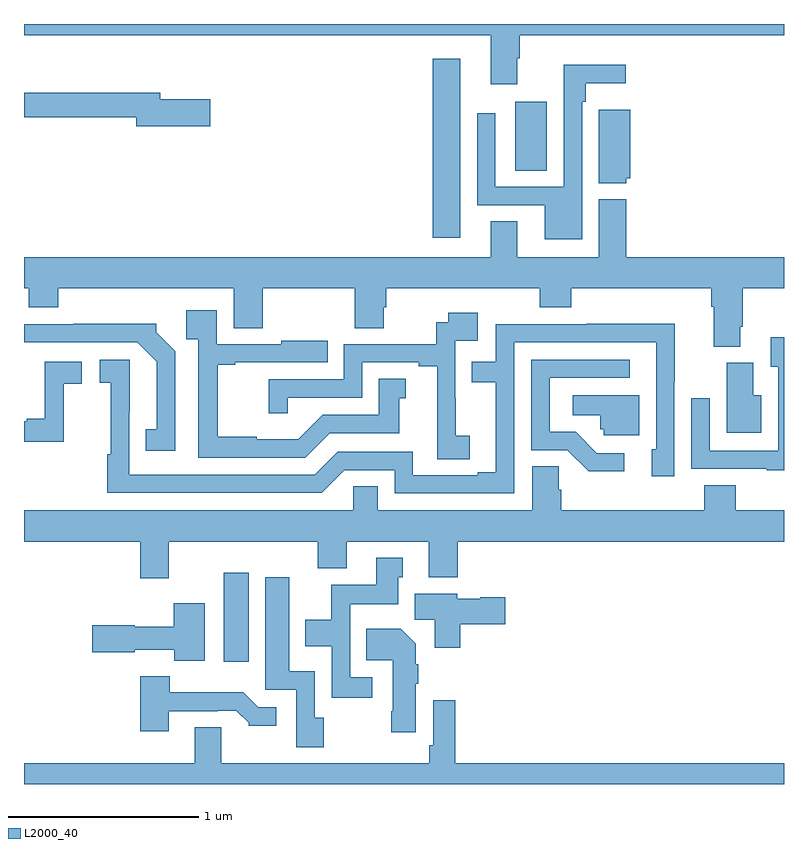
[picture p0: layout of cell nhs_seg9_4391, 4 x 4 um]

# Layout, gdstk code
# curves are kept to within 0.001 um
import gdstk
lib = gdstk.Library(unit=1e-6, precision=1e-09)
def R(c, l, rs):  # rectangles x0, y0, x1, y1
    for r in rs: c.add(gdstk.rectangle(r[:2], r[2:], *l))
def P(c, l, *ps):  # polygons
    for p in ps: c.add(gdstk.Polygon(p, *l))
L2000_40 = (2000, 40)

nhs_seg9_4391 = lib.new_cell('nhs_seg9_4391')
R(nhs_seg9_4391, L2000_40, [(364.052,1173.144,364.183,1173.613), (365.15,1175.376,365.296,1176.316), (365.585,1175.728,365.752,1176.091)])
P(nhs_seg9_4391, L2000_40, [(365.596,1176.32),(365.609,1176.32),(365.609,1176.44),(367,1176.44),(367,1176.5),(363,1176.5),(363,1176.44),(365.456,1176.44),(365.456,1176.183),(365.596,1176.183)],
  [(365.937,1176.092),(365.957,1176.092),(365.957,1176.188),(366.166,1176.188),(366.166,1176.286),(365.841,1176.286),(365.841,1175.643),(365.481,1175.643),(365.481,1176.031),(365.385,1176.031),(365.385,1175.547),(365.741,1175.547),(365.741,1175.366),(365.937,1175.366)],
  [(363.979,1176.105),(363.718,1176.105),(363.718,1176.139),(363,1176.139),(363,1176.01),(363.59,1176.01),(363.59,1175.963),(363.979,1175.963)],
  [(366.171,1175.688),(366.19,1175.688),(366.19,1176.049),(366.026,1176.049),(366.026,1175.663),(366.171,1175.663)],
  [(366.769,1174.906),(366.782,1174.906),(366.782,1175.108),(367,1175.108),(367,1175.272),(366.17,1175.272),(366.17,1175.578),(366.026,1175.578),(366.026,1175.272),(365.596,1175.272),(365.596,1175.462),(365.456,1175.462),(365.456,1175.272),(363,1175.272),(363,1175.108),(363.026,1175.108),(363.026,1175.009),(363.179,1175.009),(363.179,1175.108),(364.103,1175.108),(364.103,1174.9),(364.256,1174.9),(364.256,1175.108),(364.742,1175.108),(364.742,1174.9),(364.894,1174.9),(364.894,1175.01),(364.907,1175.01),(364.907,1175.108),(365.714,1175.108),(365.714,1175.009),(365.879,1175.009),(365.879,1175.108),(366.617,1175.108),(366.617,1175.012),(366.629,1175.012),(366.629,1174.801),(366.769,1174.801)],
  [(364.608,1174.347),(364.975,1174.347),(364.975,1174.531),(365.008,1174.531),(365.008,1174.634),(364.868,1174.634),(364.868,1174.443),(364.572,1174.443),(364.444,1174.315),(364.226,1174.315),(364.226,1174.327),(364.019,1174.327),(364.019,1174.707),(364.111,1174.707),(364.111,1174.719),(364.598,1174.719),(364.598,1174.834),(364.355,1174.834),(364.355,1174.815),(364.014,1174.815),(364.014,1174.993),(363.853,1174.993),(363.853,1174.841),(363.918,1174.841),(363.918,1174.218),(364.479,1174.218)],
  [(365.347,1174.332),(365.273,1174.332),(365.273,1174.529),(365.271,1174.529),(365.271,1174.833),(365.389,1174.833),(365.389,1174.981),(365.233,1174.981),(365.233,1174.929),(365.17,1174.929),(365.17,1174.815),(364.683,1174.815),(364.683,1174.629),(364.288,1174.629),(364.288,1174.452),(364.389,1174.452),(364.389,1174.533),(364.779,1174.533),(364.779,1174.719),(365.078,1174.719),(365.078,1174.699),(365.174,1174.699),(365.174,1174.321),(365.176,1174.321),(365.176,1174.21),(365.347,1174.21)],
  [(363.795,1174.778),(363.696,1174.877),(363.696,1174.922),(363.262,1174.922),(363.262,1174.92),(363,1174.92),(363,1174.824),(363.597,1174.824),(363.698,1174.723),(363.698,1174.367),(363.64,1174.367),(363.64,1174.254),(363.795,1174.254)],
  [(365.58,1174.824),(366.327,1174.824),(366.327,1174.263),(366.305,1174.263),(366.305,1174.119),(366.423,1174.119),(366.423,1174.618),(366.425,1174.618),(366.425,1174.922),(365.962,1174.922),(365.962,1174.92),(365.484,1174.92),(365.484,1174.722),(365.356,1174.722),(365.356,1174.614),(365.483,1174.614),(365.483,1174.14),(365.387,1174.14),(365.387,1174.125),(365.046,1174.125),(365.046,1174.248),(364.65,1174.248),(364.53,1174.128),(363.555,1174.128),(363.556,1174.732),(363.399,1174.732),(363.399,1174.611),(363.457,1174.611),(363.457,1174.235),(363.439,1174.235),(363.439,1174.032),(364.566,1174.032),(364.686,1174.152),(364.95,1174.152),(364.95,1174.029),(365.58,1174.029)],
  [(367,1174.852),(366.929,1174.852),(366.929,1174.696),(366.969,1174.696),(366.969,1174.254),(366.609,1174.254),(366.609,1174.531),(366.513,1174.531),(366.513,1174.158),(366.909,1174.158),(366.909,1174.151),(367,1174.151)],
  [(366.16,1174.242),(366.015,1174.242),(365.904,1174.353),(365.766,1174.353),(365.766,1174.638),(366.187,1174.638),(366.187,1174.734),(365.67,1174.734),(365.67,1174.257),(365.859,1174.257),(365.972,1174.145),(366.16,1174.145)],
  [(363.21,1174.606),(363.304,1174.606),(363.304,1174.722),(363.11,1174.722),(363.11,1174.423),(363.014,1174.423),(363.014,1174.41),(363,1174.41),(363,1174.302),(363.21,1174.302)],
  [(366.88,1174.546),(366.838,1174.546),(366.838,1174.716),(366.698,1174.716),(366.698,1174.349),(366.88,1174.349)],
  [(366.238,1174.546),(365.889,1174.546),(365.889,1174.442),(366.033,1174.442),(366.033,1174.368),(366.051,1174.368),(366.051,1174.335),(366.238,1174.335)],
  [(363.763,1173.776),(364.547,1173.776),(364.547,1173.635),(364.699,1173.635),(364.699,1173.776),(365.129,1173.776),(365.129,1173.587),(365.282,1173.587),(365.282,1173.776),(367,1173.776),(367,1173.94),(366.746,1173.94),(366.746,1174.073),(366.581,1174.073),(366.581,1173.94),(365.828,1173.94),(365.828,1174.049),(365.814,1174.049),(365.814,1174.172),(365.675,1174.172),(365.675,1173.94),(364.861,1173.94),(364.861,1174.067),(364.734,1174.067),(364.734,1173.94),(363,1173.94),(363,1173.776),(363.611,1173.776),(363.611,1173.582),(363.763,1173.582)],
  [(364.834,1173.063),(364.716,1173.063),(364.716,1173.446),(364.969,1173.446),(364.969,1173.588),(364.993,1173.588),(364.993,1173.691),(364.853,1173.691),(364.853,1173.55),(364.618,1173.55),(364.618,1173.364),(364.481,1173.364),(364.481,1173.224),(364.62,1173.224),(364.62,1172.955),(364.834,1172.955)],
  [(364.578,1172.85),(364.53,1172.85),(364.53,1173.094),(364.396,1173.094),(364.396,1173.589),(364.271,1173.589),(364.271,1172.997),(364.434,1172.997),(364.434,1172.694),(364.578,1172.694)],
  [(365.297,1173.341),(365.533,1173.341),(365.533,1173.483),(365.4,1173.483),(365.4,1173.475),(365.28,1173.475),(365.28,1173.502),(365.057,1173.502),(365.057,1173.364),(365.162,1173.364),(365.162,1173.216),(365.297,1173.216)],
  [(363.952,1173.451),(363.788,1173.451),(363.788,1173.328),(363.582,1173.328),(363.582,1173.336),(363.36,1173.336),(363.36,1173.194),(363.582,1173.194),(363.582,1173.206),(363.79,1173.206),(363.79,1173.149),(363.952,1173.149)],
  [(365.062,1173.028),(365.075,1173.028),(365.075,1173.131),(365.062,1173.131),(365.062,1173.238),(364.984,1173.316),(364.801,1173.316),(364.801,1173.152),(364.94,1173.152),(364.94,1172.884),(364.933,1172.884),(364.933,1172.772),(365.062,1172.772)],
  [(363.763,1172.883),(364.019,1172.883),(364.019,1172.886),(364.118,1172.886),(364.182,1172.822),(364.182,1172.807),(364.327,1172.807),(364.327,1172.904),(364.233,1172.904),(364.155,1172.983),(363.766,1172.983),(363.766,1173.067),(363.611,1173.067),(363.611,1172.778),(363.763,1172.778)],
  [(367,1172.608),(365.27,1172.608),(365.27,1172.941),(365.154,1172.941),(365.154,1172.704),(365.134,1172.704),(365.134,1172.608),(364.039,1172.608),(364.039,1172.798),(363.899,1172.798),(363.899,1172.608),(363,1172.608),(363,1172.5),(367,1172.5)])

lib.write_gds('nhs_seg9_4391.gds')
